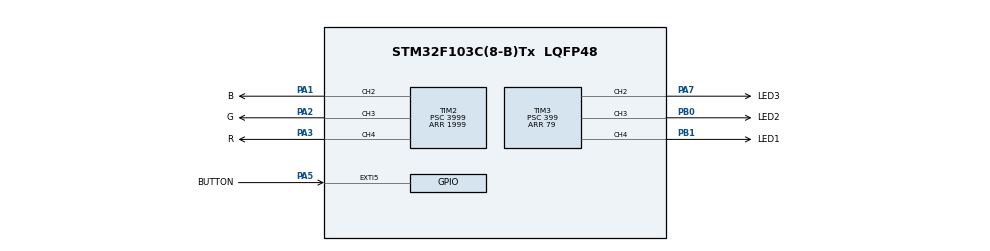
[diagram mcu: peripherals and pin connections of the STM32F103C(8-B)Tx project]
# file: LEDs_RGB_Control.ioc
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Mcu.Family=STM32F1
Mcu.Name=STM32F103C(8-B)Tx
Mcu.Package=LQFP48
NVIC.EXTI9_5_IRQn=true\:0\:0\:false\:false\:true\:true\:true
NVIC.PriorityGroup=NVIC_PRIORITYGROUP_4
NVIC.TIM1_BRK_IRQn=true\:0\:0\:false\:false\:true\:true\:true
NVIC.TIM1_CC_IRQn=true\:0\:0\:false\:false\:true\:true\:true
NVIC.TIM1_TRG_COM_IRQn=true\:0\:0\:false\:false\:true\:true\:true
NVIC.TIM1_UP_IRQn=true\:0\:0\:false\:false\:true\:true\:true
NVIC.TIM2_IRQn=true\:1\:0\:true\:false\:true\:true\:true
NVIC.TIM3_IRQn=true\:1\:0\:true\:false\:true\:true\:true
NVIC.TIM4_IRQn=true\:0\:0\:false\:false\:true\:true\:true
PA1.GPIO_Label=B
PA1.GPIO_ModeDefaultPP=GPIO_MODE_AF_PP
PA1.Signal=S_TIM2_CH2
PA13.Mode=Serial_Wire
PA13.Signal=SYS_JTMS-SWDIO
PA14.Mode=Serial_Wire
PA14.Signal=SYS_JTCK-SWCLK
PA2.GPIO_Label=G
PA2.GPIO_ModeDefaultPP=GPIO_MODE_AF_PP
PA2.Signal=S_TIM2_CH3
PA3.GPIO_Label=R
PA3.GPIO_ModeDefaultPP=GPIO_MODE_AF_PP
PA3.Signal=S_TIM2_CH4
PA5.GPIO_Label=BUTTON
PA5.GPIO_ModeDefaultEXTI=GPIO_MODE_IT_FALLING
PA5.GPIO_PuPd=GPIO_PULLUP
PA5.Signal=GPXTI5
PA7.GPIO_Label=LED3
PA7.Signal=S_TIM3_CH2
PB0.GPIO_Label=LED2
PB0.Signal=S_TIM3_CH3
PB1.GPIO_Label=LED1
PB1.Signal=S_TIM3_CH4
ProjectManager.HeapSize=0x200
ProjectManager.StackSize=0x400
ProjectManager.TargetToolchain=STM32CubeIDE
RCC.APB1Freq_Value=8000000
RCC.APB2Freq_Value=8000000
SH.S_TIM2_CH2.0=TIM2_CH2,PWM Generation2 CH2
SH.S_TIM2_CH3.0=TIM2_CH3,PWM Generation3 CH3
SH.S_TIM2_CH4.0=TIM2_CH4,PWM Generation4 CH4
SH.S_TIM3_CH2.0=TIM3_CH2,PWM Generation2 CH2
SH.S_TIM3_CH3.0=TIM3_CH3,PWM Generation3 CH3
SH.S_TIM3_CH4.0=TIM3_CH4,PWM Generation4 CH4
TIM1.AutoReloadPreload=TIM_AUTORELOAD_PRELOAD_ENABLE
TIM1.Period=99
TIM1.Prescaler=1999
TIM2.AutoReloadPreload=TIM_AUTORELOAD_PRELOAD_ENABLE
TIM2.Channel-PWM\ Generation2\ CH2=TIM_CHANNEL_2
TIM2.Channel-PWM\ Generation3\ CH3=TIM_CHANNEL_3
TIM2.Channel-PWM\ Generation4\ CH4=TIM_CHANNEL_4
TIM2.Period=1999
TIM2.Prescaler=3999
TIM2.Pulse-PWM\ Generation2\ CH2=999
TIM2.Pulse-PWM\ Generation3\ CH3=999
TIM2.Pulse-PWM\ Generation4\ CH4=999
TIM3.AutoReloadPreload=TIM_AUTORELOAD_PRELOAD_ENABLE
TIM3.Channel-PWM\ Generation2\ CH2=TIM_CHANNEL_2
TIM3.Channel-PWM\ Generation3\ CH3=TIM_CHANNEL_3
TIM3.Channel-PWM\ Generation4\ CH4=TIM_CHANNEL_4
TIM3.Period=79
TIM3.Prescaler=399
TIM3.Pulse-PWM\ Generation2\ CH2=39
TIM3.Pulse-PWM\ Generation3\ CH3=39
TIM3.Pulse-PWM\ Generation4\ CH4=39
TIM4.AutoReloadPreload=TIM_AUTORELOAD_PRELOAD_ENABLE
TIM4.Period=999
TIM4.Prescaler=3999
VP_TIM1_VS_ClockSourceINT.Mode=Internal
VP_TIM2_VS_ClockSourceINT.Mode=Internal
VP_TIM3_VS_ClockSourceINT.Mode=Internal
VP_TIM4_VS_ClockSourceINT.Mode=Internal
board=custom

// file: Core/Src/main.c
/* USER CODE BEGIN Header */
/**
  ******************************************************************************
  * @file           : main.c
  * @brief          : Main program body
  ******************************************************************************
  * @attention
  *
  * <h2><center>&copy; Copyright (c) 2023 STMicroelectronics.
  * All rights reserved.</center></h2>
  *
  * This software component is licensed by ST under BSD 3-Clause license,
  * the "License"; You may not use this file except in compliance with the
  * License. You may obtain a copy of the License at:
  *                        opensource.org/licenses/BSD-3-Clause
  *
  ******************************************************************************
  */
/* USER CODE END Header */
#include "main.h"

/* USER CODE BEGIN PTD */
#define BUTTON_STATE HAL_GPIO_ReadPin(BUTTON_GPIO_Port, BUTTON_Pin)

typedef enum
{
	IDLE = 0,
	WAIT_BUTTON_UP,
	WAIT_PRESS_TIMEOUT,
	WAIT_CLICK_TIMEOUT,
	WAIT_HOLD_TIMEOUT
} my_state_t;

my_state_t state = IDLE;
/* USER CODE END PTD */

TIM_HandleTypeDef htim1;
TIM_HandleTypeDef htim2;
TIM_HandleTypeDef htim3;
TIM_HandleTypeDef htim4;

void SystemClock_Config(void);
static void MX_GPIO_Init(void);
static void MX_TIM2_Init(void);
static void MX_TIM3_Init(void);
static void MX_TIM4_Init(void);
static void MX_TIM1_Init(void);
/* USER CODE BEGIN PFP */
uint8_t en_LED = 0;
uint8_t i_LED = 0;
uint8_t di_LED = 0;
uint8_t en_fade_mode = 0;
uint32_t bright = 100;
uint8_t button_interrupt = 0;
uint32_t t_timeout = 0;

uint32_t add_pointer_value = 0;
uint32_t bright_count_R;
uint32_t bright_count_G;
uint32_t bright_count_B;

uint8_t COLOR_TABLE[100] =
{
		10, 0, 0,
		20, 35, 0,
		40, 0, 27,
		60, 10, 0,
		80, 25, 0,
		100, 0, 125,
		120, 255, 0,
		140, 10, 25,
		160, 0, 0,
		180, 25, 0,
		200, 0, 124,
		220, 30, 57,
};
/* USER CODE END PFP */

/* USER CODE BEGIN 0 */
void HAL_TIM_PeriodElapsedCallback(TIM_HandleTypeDef *htim)
{
	if (htim->Instance == TIM4)
	{
		en_LED =  1 - en_LED;
	}

	if (htim->Instance == TIM1 && en_fade_mode == 1)
	{
		if (di_LED == 0)
		{
			i_LED++;
			__HAL_TIM_SET_COMPARE(&htim2, TIM_CHANNEL_2, i_LED*79/99);
			if (i_LED > bright_count_R) di_LED = 1;
		}

		if (di_LED == 1)
		{
			i_LED--;
			  __HAL_TIM_SET_COMPARE(&htim2, TIM_CHANNEL_2, i_LED*79/99);
			if (i_LED < 1) di_LED = 0;
		}
	}
}

void __1HZ_Timer_LED_Run()
{
	 if (en_LED == 1) __HAL_TIM_SET_COMPARE(&htim3, TIM_CHANNEL_2, 0);
	 if (en_LED == 0) __HAL_TIM_SET_COMPARE(&htim3, TIM_CHANNEL_2, 80);
}

void __1HZ_PWM_RGB_Setup()
{
	  __HAL_TIM_SET_AUTORELOAD(&htim2, 1999);
	  __HAL_TIM_SET_PRESCALER(&htim2, 3999);

	  __HAL_TIM_SET_COMPARE(&htim2, TIM_CHANNEL_2, 999);
	  __HAL_TIM_SET_COMPARE(&htim2, TIM_CHANNEL_3, 999);
	  __HAL_TIM_SET_COMPARE(&htim2, TIM_CHANNEL_4, 999);
}

void __Fade_LED_Setup()
{
	  __HAL_TIM_SET_AUTORELOAD(&htim1, 99);
	  __HAL_TIM_SET_PRESCALER(&htim1, 999);

	  __HAL_TIM_SET_AUTORELOAD(&htim2, 79);
	  __HAL_TIM_SET_PRESCALER(&htim2, 399);

	  en_fade_mode = 1;
}

void __RGB_PWM_Setup(uint32_t freq)
{
	uint32_t PSC = 3999;
	uint32_t max_count = 8000000/(freq*(PSC + 1)) - 1;

	__HAL_TIM_SET_AUTORELOAD(&htim2, max_count);
	__HAL_TIM_SET_PRESCALER(&htim2, PSC);

	__HAL_TIM_SET_COMPARE(&htim2, TIM_CHANNEL_2, max_count/2);
	__HAL_TIM_SET_COMPARE(&htim2, TIM_CHANNEL_3, max_count/2);
	__HAL_TIM_SET_COMPARE(&htim2, TIM_CHANNEL_4, max_count/2);

}

void __LED_TIMER_Setup(uint32_t freq)
{
	uint32_t PSC = 3999;
	uint32_t max_count = 8000000/((freq*2)*(PSC + 1)) - 1;

	__HAL_TIM_SET_AUTORELOAD(&htim4, max_count);
	__HAL_TIM_SET_PRESCALER(&htim4, PSC);
}

void __LED_TIMER_Run(uint32_t bright)
{
	uint32_t PSC = 399;
	uint32_t freq = 250;  //Hz
	uint32_t max_count = 8000000/(freq*(PSC + 1)) - 1;
	uint32_t bright_count = max_count*bright/100;

	if (en_LED == 1) __HAL_TIM_SET_COMPARE(&htim3, TIM_CHANNEL_2, max_count + 1);
	if (en_LED == 0) __HAL_TIM_SET_COMPARE(&htim3, TIM_CHANNEL_2, max_count - bright_count);
}

void __RGB_Color(uint8_t *Color_Table)
{
	  uint32_t PSC = 99;
	  uint32_t max_count_RGB = 8000000/(250*(PSC + 1)) - 1;
	  bright_count_R = *Color_Table*max_count_RGB/255;
	  bright_count_G = *(Color_Table + 1)*max_count_RGB/255;
	  bright_count_B = *(Color_Table + 2)*max_count_RGB/255;

	  //Set fade freq 80 Hz
	  __HAL_TIM_SET_AUTORELOAD(&htim1, 99);
	  __HAL_TIM_SET_PRESCALER(&htim1, 999);

	  //Set base timer for change pwm RGB - 250 Hz
	  __HAL_TIM_SET_AUTORELOAD(&htim2, max_count_RGB);
	  __HAL_TIM_SET_PRESCALER(&htim2, PSC);

	  //Set PWM for each R,G,B
	  __HAL_TIM_SET_COMPARE(&htim2, TIM_CHANNEL_4, bright_count_R);  //Red
	  __HAL_TIM_SET_COMPARE(&htim2, TIM_CHANNEL_3, bright_count_G);  //Green
	  __HAL_TIM_SET_COMPARE(&htim2, TIM_CHANNEL_2, bright_count_B);  //Blue
}
/* USER CODE END 0 */

int main(void)
{

  /* MCU Configuration--------------------------------------------------------*/

  /* Reset of all peripherals, Initializes the Flash interface and the Systick. */
  HAL_Init();

  /* Configure the system clock */
  SystemClock_Config();

  /* Initialize all configured peripherals */
  MX_GPIO_Init();
  MX_TIM2_Init();
  MX_TIM3_Init();
  MX_TIM4_Init();
  MX_TIM1_Init();
  /* USER CODE BEGIN 2 */
  //Turn on Timer 4 for Control LED period
  HAL_TIM_Base_Start_IT(&htim2);

  //Turn on Timer 3 for LED power
  HAL_TIM_Base_Start_IT(&htim3);

  //Turn on Timer 4 for Control LED period
  HAL_TIM_Base_Start_IT(&htim4);

  //Turn on Timer 1 for Fade LED period
  HAL_TIM_Base_Start_IT(&htim1);

  //Start turn ON PWM
  HAL_TIM_PWM_Start(&htim2, TIM_CHANNEL_2);
  HAL_TIM_PWM_Start(&htim2, TIM_CHANNEL_3);
  HAL_TIM_PWM_Start(&htim2, TIM_CHANNEL_4);

  HAL_TIM_PWM_Start(&htim3, TIM_CHANNEL_2);
  HAL_TIM_PWM_Start(&htim3, TIM_CHANNEL_3);
  HAL_TIM_PWM_Start(&htim3, TIM_CHANNEL_4);

  //Set start state for LED1, LED2, LED3
  __HAL_TIM_SET_COMPARE(&htim3, TIM_CHANNEL_2, 80);  //OFF
  __HAL_TIM_SET_COMPARE(&htim3, TIM_CHANNEL_3, 80);  //OFF
  __HAL_TIM_SET_COMPARE(&htim3, TIM_CHANNEL_4, 80);  //OFF

  //Set start state for R, G, B
  __HAL_TIM_SET_COMPARE(&htim2, TIM_CHANNEL_2, 0);  //OFF
  __HAL_TIM_SET_COMPARE(&htim2, TIM_CHANNEL_3, 0);  //OFF
  __HAL_TIM_SET_COMPARE(&htim2, TIM_CHANNEL_4, 0);  //OFF

  /* USER CODE END 2 */
  HAL_InitTick(TICK_INT_PRIORITY); // Reset HAL_GetTick() to 0

  /* Infinite loop */
  while (1)
  {
	//  __LED_TIMER_Run(bright);
	    switch (state)
	    {
	      case IDLE:
	        if (button_interrupt == 1 && BUTTON_STATE == 0)
	        {
	          state = WAIT_PRESS_TIMEOUT;
	          t_timeout = HAL_GetTick() + 50;
	        }
	        break;

	      case WAIT_PRESS_TIMEOUT:
	        if (BUTTON_STATE == 0 && HAL_GetTick() > t_timeout)
	        {
	          state = WAIT_CLICK_TIMEOUT;
	          t_timeout = HAL_GetTick() + 250;
	        }
	        if (BUTTON_STATE == 1 && HAL_GetTick() <= t_timeout)
	        {
	          state = IDLE;
	          button_interrupt = 0;
	        }
	        break;

	      case WAIT_CLICK_TIMEOUT:
	        if (BUTTON_STATE == 1 && HAL_GetTick() <= t_timeout)
	        {
	          add_pointer_value = add_pointer_value + 3;
	          if (add_pointer_value > 36) add_pointer_value = 0;
	          __RGB_Color(COLOR_TABLE + add_pointer_value);
	          state = IDLE;
	          button_interrupt = 0;
	        }

	        if (BUTTON_STATE == 0 && HAL_GetTick() > t_timeout)
	        {
	          state = WAIT_HOLD_TIMEOUT;
	          t_timeout = HAL_GetTick() + 2700;
	        }
	        break;

	      case WAIT_HOLD_TIMEOUT:
	        if (BUTTON_STATE == 0 && HAL_GetTick() > t_timeout)
	        {
	          state = IDLE;
	          button_interrupt = 0;
	        }
	        break;

	      default:
	          state = IDLE;
	          break;
	    }

  }
}

void SystemClock_Config(void)
{
  RCC_OscInitTypeDef RCC_OscInitStruct = {0};
  RCC_ClkInitTypeDef RCC_ClkInitStruct = {0};

  /** Initializes the RCC Oscillators according to the specified parameters
  * in the RCC_OscInitTypeDef structure.
  */
  RCC_OscInitStruct.OscillatorType = RCC_OSCILLATORTYPE_HSI;
  RCC_OscInitStruct.HSIState = RCC_HSI_ON;
  RCC_OscInitStruct.HSICalibrationValue = RCC_HSICALIBRATION_DEFAULT;
  RCC_OscInitStruct.PLL.PLLState = RCC_PLL_NONE;
  if (HAL_RCC_OscConfig(&RCC_OscInitStruct) != HAL_OK)
  {
    Error_Handler();
  }
  /** Initializes the CPU, AHB and APB buses clocks
  */
  RCC_ClkInitStruct.ClockType = RCC_CLOCKTYPE_HCLK|RCC_CLOCKTYPE_SYSCLK
                              |RCC_CLOCKTYPE_PCLK1|RCC_CLOCKTYPE_PCLK2;
  RCC_ClkInitStruct.SYSCLKSource = RCC_SYSCLKSOURCE_HSI;
  RCC_ClkInitStruct.AHBCLKDivider = RCC_SYSCLK_DIV1;
  RCC_ClkInitStruct.APB1CLKDivider = RCC_HCLK_DIV1;
  RCC_ClkInitStruct.APB2CLKDivider = RCC_HCLK_DIV1;

  if (HAL_RCC_ClockConfig(&RCC_ClkInitStruct, FLASH_LATENCY_0) != HAL_OK)
  {
    Error_Handler();
  }
}

static void MX_TIM1_Init(void)
{

  TIM_ClockConfigTypeDef sClockSourceConfig = {0};
  TIM_MasterConfigTypeDef sMasterConfig = {0};

  htim1.Instance = TIM1;
  htim1.Init.Prescaler = 1999;
  htim1.Init.CounterMode = TIM_COUNTERMODE_UP;
  htim1.Init.Period = 99;
  htim1.Init.ClockDivision = TIM_CLOCKDIVISION_DIV1;
  htim1.Init.RepetitionCounter = 0;
  htim1.Init.AutoReloadPreload = TIM_AUTORELOAD_PRELOAD_ENABLE;
  if (HAL_TIM_Base_Init(&htim1) != HAL_OK)
  {
    Error_Handler();
  }
  sClockSourceConfig.ClockSource = TIM_CLOCKSOURCE_INTERNAL;
  if (HAL_TIM_ConfigClockSource(&htim1, &sClockSourceConfig) != HAL_OK)
  {
    Error_Handler();
  }
  sMasterConfig.MasterOutputTrigger = TIM_TRGO_RESET;
  sMasterConfig.MasterSlaveMode = TIM_MASTERSLAVEMODE_DISABLE;
  if (HAL_TIMEx_MasterConfigSynchronization(&htim1, &sMasterConfig) != HAL_OK)
  {
    Error_Handler();
  }

}

static void MX_TIM2_Init(void)
{

  TIM_ClockConfigTypeDef sClockSourceConfig = {0};
  TIM_MasterConfigTypeDef sMasterConfig = {0};
  TIM_OC_InitTypeDef sConfigOC = {0};

  htim2.Instance = TIM2;
  htim2.Init.Prescaler = 3999;
  htim2.Init.CounterMode = TIM_COUNTERMODE_UP;
  htim2.Init.Period = 1999;
  htim2.Init.ClockDivision = TIM_CLOCKDIVISION_DIV1;
  htim2.Init.AutoReloadPreload = TIM_AUTORELOAD_PRELOAD_ENABLE;
  if (HAL_TIM_Base_Init(&htim2) != HAL_OK)
  {
    Error_Handler();
  }
  sClockSourceConfig.ClockSource = TIM_CLOCKSOURCE_INTERNAL;
  if (HAL_TIM_ConfigClockSource(&htim2, &sClockSourceConfig) != HAL_OK)
  {
    Error_Handler();
  }
  if (HAL_TIM_PWM_Init(&htim2) != HAL_OK)
  {
    Error_Handler();
  }
  sMasterConfig.MasterOutputTrigger = TIM_TRGO_RESET;
  sMasterConfig.MasterSlaveMode = TIM_MASTERSLAVEMODE_DISABLE;
  if (HAL_TIMEx_MasterConfigSynchronization(&htim2, &sMasterConfig) != HAL_OK)
  {
    Error_Handler();
  }
  sConfigOC.OCMode = TIM_OCMODE_PWM1;
  sConfigOC.Pulse = 999;
  sConfigOC.OCPolarity = TIM_OCPOLARITY_HIGH;
  sConfigOC.OCFastMode = TIM_OCFAST_DISABLE;
  if (HAL_TIM_PWM_ConfigChannel(&htim2, &sConfigOC, TIM_CHANNEL_2) != HAL_OK)
  {
    Error_Handler();
  }
  if (HAL_TIM_PWM_ConfigChannel(&htim2, &sConfigOC, TIM_CHANNEL_3) != HAL_OK)
  {
    Error_Handler();
  }
  if (HAL_TIM_PWM_ConfigChannel(&htim2, &sConfigOC, TIM_CHANNEL_4) != HAL_OK)
  {
    Error_Handler();
  }
  HAL_TIM_MspPostInit(&htim2);

}

static void MX_TIM3_Init(void)
{

  TIM_ClockConfigTypeDef sClockSourceConfig = {0};
  TIM_MasterConfigTypeDef sMasterConfig = {0};
  TIM_OC_InitTypeDef sConfigOC = {0};

  htim3.Instance = TIM3;
  htim3.Init.Prescaler = 399;
  htim3.Init.CounterMode = TIM_COUNTERMODE_UP;
  htim3.Init.Period = 79;
  htim3.Init.ClockDivision = TIM_CLOCKDIVISION_DIV1;
  htim3.Init.AutoReloadPreload = TIM_AUTORELOAD_PRELOAD_ENABLE;
  if (HAL_TIM_Base_Init(&htim3) != HAL_OK)
  {
    Error_Handler();
  }
  sClockSourceConfig.ClockSource = TIM_CLOCKSOURCE_INTERNAL;
  if (HAL_TIM_ConfigClockSource(&htim3, &sClockSourceConfig) != HAL_OK)
  {
    Error_Handler();
  }
  if (HAL_TIM_PWM_Init(&htim3) != HAL_OK)
  {
    Error_Handler();
  }
  sMasterConfig.MasterOutputTrigger = TIM_TRGO_RESET;
  sMasterConfig.MasterSlaveMode = TIM_MASTERSLAVEMODE_DISABLE;
  if (HAL_TIMEx_MasterConfigSynchronization(&htim3, &sMasterConfig) != HAL_OK)
  {
    Error_Handler();
  }
  sConfigOC.OCMode = TIM_OCMODE_PWM1;
  sConfigOC.Pulse = 39;
  sConfigOC.OCPolarity = TIM_OCPOLARITY_HIGH;
  sConfigOC.OCFastMode = TIM_OCFAST_DISABLE;
  if (HAL_TIM_PWM_ConfigChannel(&htim3, &sConfigOC, TIM_CHANNEL_2) != HAL_OK)
  {
    Error_Handler();
  }
  if (HAL_TIM_PWM_ConfigChannel(&htim3, &sConfigOC, TIM_CHANNEL_3) != HAL_OK)
  {
    Error_Handler();
  }
  if (HAL_TIM_PWM_ConfigChannel(&htim3, &sConfigOC, TIM_CHANNEL_4) != HAL_OK)
  {
    Error_Handler();
  }
  HAL_TIM_MspPostInit(&htim3);

}

static void MX_TIM4_Init(void)
{

  TIM_ClockConfigTypeDef sClockSourceConfig = {0};
  TIM_MasterConfigTypeDef sMasterConfig = {0};

  htim4.Instance = TIM4;
  htim4.Init.Prescaler = 3999;
  htim4.Init.CounterMode = TIM_COUNTERMODE_UP;
  htim4.Init.Period = 999;
  htim4.Init.ClockDivision = TIM_CLOCKDIVISION_DIV1;
  htim4.Init.AutoReloadPreload = TIM_AUTORELOAD_PRELOAD_ENABLE;
  if (HAL_TIM_Base_Init(&htim4) != HAL_OK)
  {
    Error_Handler();
  }
  sClockSourceConfig.ClockSource = TIM_CLOCKSOURCE_INTERNAL;
  if (HAL_TIM_ConfigClockSource(&htim4, &sClockSourceConfig) != HAL_OK)
  {
    Error_Handler();
  }
  sMasterConfig.MasterOutputTrigger = TIM_TRGO_RESET;
  sMasterConfig.MasterSlaveMode = TIM_MASTERSLAVEMODE_DISABLE;
  if (HAL_TIMEx_MasterConfigSynchronization(&htim4, &sMasterConfig) != HAL_OK)
  {
    Error_Handler();
  }

}

static void MX_GPIO_Init(void)
{
  GPIO_InitTypeDef GPIO_InitStruct = {0};

  /* GPIO Ports Clock Enable */
  __HAL_RCC_GPIOA_CLK_ENABLE();
  __HAL_RCC_GPIOB_CLK_ENABLE();

  /*Configure GPIO pin : BUTTON_Pin */
  GPIO_InitStruct.Pin = BUTTON_Pin;
  GPIO_InitStruct.Mode = GPIO_MODE_IT_FALLING;
  GPIO_InitStruct.Pull = GPIO_PULLUP;
  HAL_GPIO_Init(BUTTON_GPIO_Port, &GPIO_InitStruct);

  /* EXTI interrupt init*/
  HAL_NVIC_SetPriority(EXTI9_5_IRQn, 0, 0);
  HAL_NVIC_EnableIRQ(EXTI9_5_IRQn);

}

/* USER CODE BEGIN 4 */
void HAL_GPIO_EXTI_Callback(uint16_t GPIO_Pin)
{
	button_interrupt = 1;
}
/* USER CODE END 4 */

void Error_Handler(void)
{
  __disable_irq();
  while (1)
  {
  }
}

/************************ (C) COPYRIGHT STMicroelectronics *****END OF FILE****/
